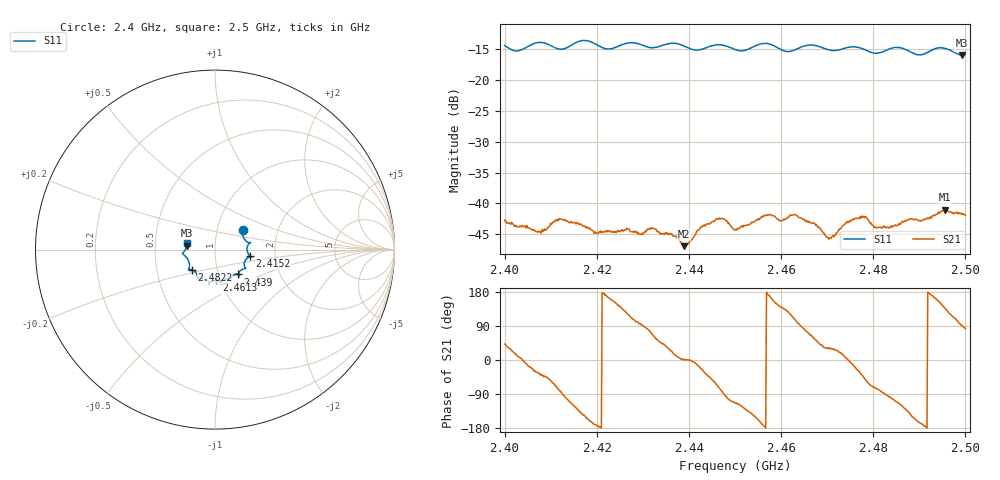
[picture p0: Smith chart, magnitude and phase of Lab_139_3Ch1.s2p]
# Hz S RI R 50
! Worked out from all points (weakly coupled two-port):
!   601 points, 2.4 GHz to 2.5 GHz, reference 50 ohm
!   highest |S21| = -41.04 dB at 2.4955 GHz (marker M1); lowest = -46.9 dB at 2.439 GHz (marker M2)
!   lowest |S11| = -15.9 dB at 2.4993 GHz (marker M3), VSWR 1.38, Z = 36.3 + j1.62 ohm
!   |S11| at or under -10 dB: start of sweep to end of sweep
!   S12 and S22 are empty: the file has one direction only
!   S11 on the Smith chart (normalised r, x): 2.4 GHz: 1.33, +0.31; 2.4152 GHz: 1.48, -0.11; 2.439 GHz: 1.24, -0.36; 2.4613 GHz: 0.96, -0.34; 2.4822 GHz: 0.76, -0.17; 2.5 GHz: 0.73, +0.05
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2.4e9  0.155 0.1116  0.00544 0.0049  0 0  0 0
2.402833e9  0.1596 0.0652  0.00636 0.00113  0 0  0 0
2.4075e9  0.1986 0.0394  0.00478 -0.00354  0 0  0 0
2.4115e9  0.1793 0.0137  0.00194 -0.00714  0 0  0 0
2.415167e9  0.1953 -0.0366  -0.00374 -0.00591  0 0  0 0
2.416667e9  0.2047 -0.0427  -0.00521 -0.00424  0 0  0 0
2.419833e9  0.191 -0.0413  -0.00569 -0.000853  0 0  0 0
2.433333e9  0.1321 -0.1321  0.00369 0.00451  0 0  0 0
2.439e9  0.1282 -0.1385  0.00449 0.000154  0 0  0 0
2.446167e9  0.0857 -0.1739  0.00298 -0.00691  0 0  0 0
2.45e9  0.0685 -0.1638  -0.00242 -0.00558  0 0  0 0
2.456667e9  0.0391 -0.195  -0.00803 -7.9e-05  0 0  0 0
2.461333e9  0.00758 -0.1704  -0.00488 0.00592  0 0  0 0
2.466667e9  -0.0334 -0.1899  0.00314 0.00612  0 0  0 0
2.470333e9  -0.0458 -0.1701  0.00445 0.00254  0 0  0 0
2.4775e9  -0.096 -0.1535  0.00617 -0.00483  0 0  0 0
2.482167e9  -0.1284 -0.1121  0.00038 -0.00653  0 0  0 0
2.483333e9  -0.1399 -0.1105  -0.000606 -0.0063  0 0  0 0
2.49e9  -0.1473 -0.0634  -0.00702 -0.00184  0 0  0 0
2.4955e9  -0.1805 -0.0192  -0.00646 0.00608  0 0  0 0
2.499333e9  -0.1584 0.0217  3.1e-05 0.00813  0 0  0 0
2.5e9  -0.1578 0.034  0.000971 0.00795  0 0  0 0
